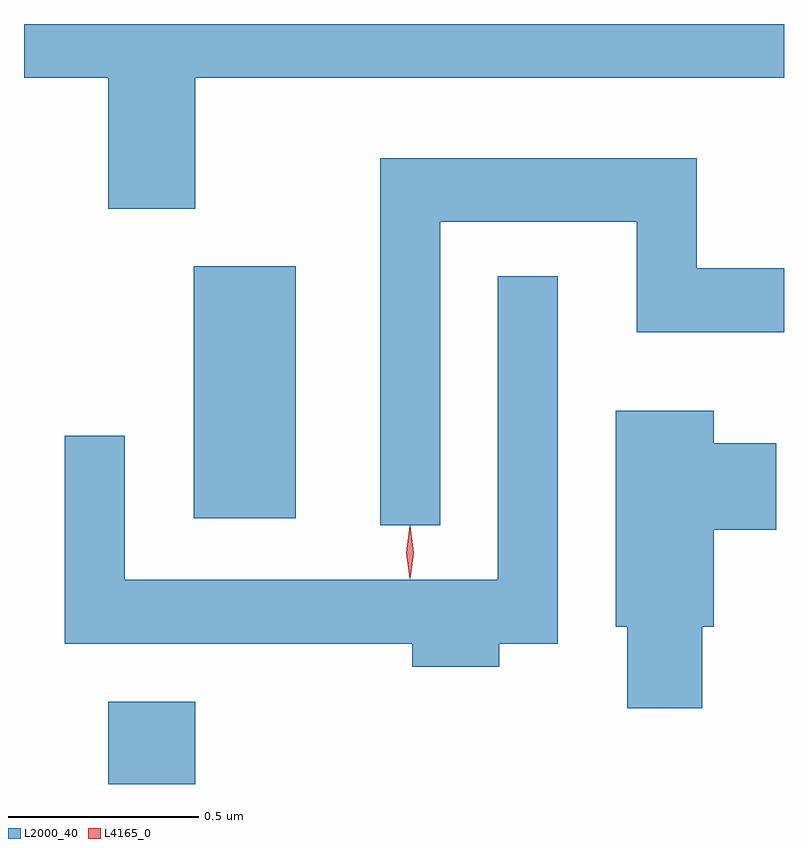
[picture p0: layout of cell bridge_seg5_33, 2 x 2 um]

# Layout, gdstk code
import gdstk
lib = gdstk.Library(unit=1e-6, precision=1e-09)
def R(c, l, rs):  # rectangles x0, y0, x1, y1
    for r in rs: c.add(gdstk.rectangle(r[:2], r[2:], *l))
def P(c, l, *ps):  # polygons
    for p in ps: c.add(gdstk.Polygon(p, *l))
L2000_40 = (2000, 40)
L4165_0 = (4165, 0)

bridge_seg5_33 = lib.new_cell('bridge_seg5_33')
R(bridge_seg5_33, L2000_40, [(1343.541,1472.697,1343.769,1472.914), (1343.766,1473.396,1344.034,1474.059)])
P(bridge_seg5_33, L2000_40, [(1343.769,1474.556),(1345.319,1474.556),(1345.319,1474.697),(1343.319,1474.697),(1343.319,1474.556),(1343.541,1474.556),(1343.541,1474.211),(1343.769,1474.211)],
  [(1344.414,1474.176),(1344.931,1474.176),(1344.931,1473.886),(1345.319,1473.886),(1345.319,1474.054),(1345.089,1474.054),(1345.089,1474.344),(1344.256,1474.344),(1344.256,1473.378),(1344.414,1473.378)],
  [(1344.569,1473.066),(1344.724,1473.066),(1344.724,1474.033),(1344.566,1474.033),(1344.566,1473.234),(1343.584,1473.234),(1343.584,1473.613),(1343.426,1473.613),(1343.426,1473.066),(1344.341,1473.066),(1344.341,1473.006),(1344.569,1473.006)],
  [(1345.104,1473.111),(1345.134,1473.111),(1345.134,1473.366),(1345.299,1473.366),(1345.299,1473.594),(1345.134,1473.594),(1345.134,1473.679),(1344.876,1473.679),(1344.876,1473.111),(1344.906,1473.111),(1344.906,1472.896),(1345.104,1472.896)])
P(bridge_seg5_33, L4165_0, [(1344.334,1473.237),(1344.325,1473.306),(1344.334,1473.376),(1344.335,1473.376),(1344.336,1473.376),(1344.345,1473.306),(1344.336,1473.237),(1344.335,1473.237)],
  [(1344.335,1473.239),(1344.334,1473.24),(1344.325,1473.306),(1344.334,1473.372),(1344.335,1473.373),(1344.335,1473.372),(1344.345,1473.306),(1344.335,1473.24)])

lib.write_gds('bridge_seg5_33.gds')
